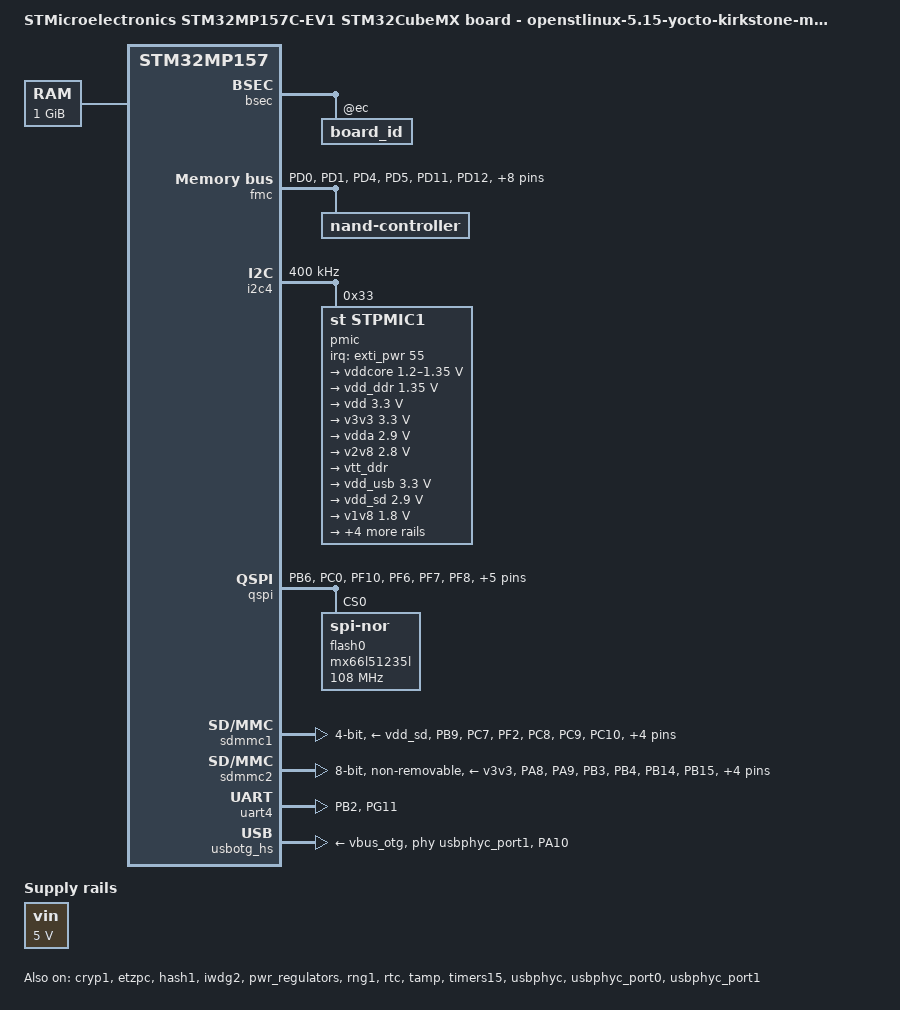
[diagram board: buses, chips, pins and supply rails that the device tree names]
/dts-v1/;
#include <dt-bindings/pinctrl/stm32-pinfunc.h>
#include <dt-bindings/clock/stm32mp1-clksrc.h>
#include <dt-bindings/soc/st,stm32-etzpc.h>
#include "stm32mp15-mx.dtsi"
#include "stm32mp157.dtsi"
#include "stm32mp15xc.dtsi"
#include "stm32mp15xxaa-pinctrl.dtsi"
#include "stm32mp15-ddr.dtsi"

/* USER CODE BEGIN includes */
#include <dt-bindings/power/stm32mp1-power.h>
/* USER CODE END includes */

/{
	model = "STMicroelectronics STM32MP157C-EV1 STM32CubeMX board - openstlinux-5.15-yocto-kirkstone-mp1-v22.06.15";
	compatible = "st,stm32mp157c-board_157c-ev1-mx", "st,stm32mp157";

	/* USER CODE BEGIN root */

	aliases{
		serial0 = &uart4;
		serial1 = &usart3;
	};

	vin:vin{
		compatible = "regulator-fixed";
		regulator-name = "vin";
		regulator-min-microvolt = <5000000>;
		regulator-max-microvolt = <5000000>;
		regulator-always-on;
	};

	chosen{
		stdout-path = "serial0:115200n8";
	};
	/* USER CODE END root */

	memory@c0000000{
		device_type = "memory";
		reg = <0xc0000000 0x40000000>;
	};

	clocks{

		clk_hsi:clk-hsi{
			clock-frequency = <64000000>;
		};

		clk_lse:clk-lse{
			clock-frequency = <32768>;
			st,drive = < LSEDRV_MEDIUM_HIGH >;
		};

		clk_hse:clk-hse{
			clock-frequency = <24000000>;
			st,digbypass;
		};
	};
};

&pinctrl{

	fmc_pins_mx:fmc_mx-0{

		pins1{
			pinmux = <STM32_PINMUX('D', 0, AF12)>,
					<STM32_PINMUX('D', 1, AF12)>,
					<STM32_PINMUX('D', 4, AF12)>,
					<STM32_PINMUX('D', 5, AF12)>,
					<STM32_PINMUX('D', 11, AF12)>,
					<STM32_PINMUX('D', 12, AF12)>,
					<STM32_PINMUX('D', 14, AF12)>,
					<STM32_PINMUX('D', 15, AF12)>,
					<STM32_PINMUX('E', 7, AF12)>,
					<STM32_PINMUX('E', 8, AF12)>,
					<STM32_PINMUX('E', 9, AF12)>,
					<STM32_PINMUX('E', 10, AF12)>,
					<STM32_PINMUX('G', 9, AF12)>;
			bias-disable;
			drive-push-pull;
			slew-rate = <1>;
		};

		pins2{
			pinmux = <STM32_PINMUX('D', 6, AF12)>;
			bias-pull-up;
		};
	};

	quadspi_pins_mx:quadspi_mx-0{

		pins1{
			pinmux = <STM32_PINMUX('B', 6, AF10)>,
					<STM32_PINMUX('C', 0, AF10)>;
			bias-pull-up;
			drive-push-pull;
			slew-rate = <1>;
		};

		pins2{
			pinmux = <STM32_PINMUX('F', 10, AF9)>;
			bias-disable;
			drive-push-pull;
			slew-rate = <3>;
		};

		pins3{
			pinmux = <STM32_PINMUX('F', 6, AF9)>,
					<STM32_PINMUX('F', 7, AF9)>,
					<STM32_PINMUX('F', 8, AF10)>,
					<STM32_PINMUX('F', 9, AF10)>,
					<STM32_PINMUX('G', 7, AF11)>,
					<STM32_PINMUX('G', 10, AF11)>,
					<STM32_PINMUX('H', 2, AF9)>,
					<STM32_PINMUX('H', 3, AF9)>;
			bias-disable;
			drive-push-pull;
			slew-rate = <1>;
		};
	};

	sdmmc1_pins_mx:sdmmc1_mx-0{

		pins1{
			pinmux = <STM32_PINMUX('B', 9, AF11)>,
					<STM32_PINMUX('C', 7, AF8)>,
					<STM32_PINMUX('F', 2, AF11)>;
			bias-pull-up;
			drive-push-pull;
			slew-rate = <1>;
		};

		pins2{
			pinmux = <STM32_PINMUX('C', 8, AF12)>,
					<STM32_PINMUX('C', 9, AF12)>,
					<STM32_PINMUX('C', 10, AF12)>,
					<STM32_PINMUX('C', 11, AF12)>,
					<STM32_PINMUX('D', 2, AF12)>;
			bias-disable;
			drive-push-pull;
			slew-rate = <1>;
		};

		pins3{
			pinmux = <STM32_PINMUX('C', 12, AF12)>;
			bias-disable;
			drive-push-pull;
			slew-rate = <2>;
		};

		pins4{
			pinmux = <STM32_PINMUX('E', 4, AF8)>;
			bias-pull-up;
		};
	};

	sdmmc2_pins_mx:sdmmc2_mx-0{

		pins1{
			pinmux = <STM32_PINMUX('A', 8, AF9)>,
					<STM32_PINMUX('A', 9, AF10)>,
					<STM32_PINMUX('B', 3, AF9)>,
					<STM32_PINMUX('B', 4, AF9)>,
					<STM32_PINMUX('B', 14, AF9)>,
					<STM32_PINMUX('B', 15, AF9)>,
					<STM32_PINMUX('D', 3, AF9)>,
					<STM32_PINMUX('E', 5, AF9)>,
					<STM32_PINMUX('G', 6, AF10)>;
			bias-pull-up;
			drive-push-pull;
			slew-rate = <1>;
		};

		pins2{
			pinmux = <STM32_PINMUX('E', 3, AF9)>;
			bias-pull-up;
			drive-push-pull;
			slew-rate = <2>;
		};
	};

	uart4_pins_mx:uart4_mx-0{

		pins1{
			pinmux = <STM32_PINMUX('B', 2, AF8)>;
			bias-disable;
		};

		pins2{
			pinmux = <STM32_PINMUX('G', 11, AF6)>;
			bias-disable;
			drive-push-pull;
			slew-rate = <0>;
		};
	};

	usb_otg_hs_pins_mx:usb_otg_hs_mx-0{

		pins{
			pinmux = <STM32_PINMUX('A', 10, ANALOG)>;
		};
	};
};

&pinctrl_z{

	i2c4_pins_z_mx:i2c4_mx-0{

		pins{
			pinmux = <STM32_PINMUX('Z', 4, AF6)>,
					<STM32_PINMUX('Z', 5, AF6)>;
			bias-disable;
			drive-open-drain;
			slew-rate = <0>;
		};
	};
};

&bsec{
	status = "okay";

	/* USER CODE BEGIN bsec */

	board_id:board_id@ec{
		reg = <0xec 0x4>;
		st,non-secure-otp;
	};
	/* USER CODE END bsec */
};

&cryp1{
	status = "okay";
};

&etzpc{
	status = "okay";
	st,decprot = <
	
	DECPROT(STM32MP1_ETZPC_CRYP1_ID, DECPROT_NS_RW, DECPROT_UNLOCK)
	DECPROT(STM32MP1_ETZPC_DCMI_ID, DECPROT_NS_RW, DECPROT_UNLOCK)
	DECPROT(STM32MP1_ETZPC_DFSDM_ID, DECPROT_NS_RW, DECPROT_UNLOCK)
	DECPROT(STM32MP1_ETZPC_DMA1_ID, DECPROT_NS_RW, DECPROT_UNLOCK)
	DECPROT(STM32MP1_ETZPC_DMA2_ID, DECPROT_NS_RW, DECPROT_UNLOCK)
	DECPROT(STM32MP1_ETZPC_DMAMUX_ID, DECPROT_NS_RW, DECPROT_UNLOCK)
	DECPROT(STM32MP1_ETZPC_ETH_ID, DECPROT_NS_RW, DECPROT_UNLOCK)
	DECPROT(STM32MP1_ETZPC_TT_FDCAN_ID, DECPROT_NS_RW, DECPROT_UNLOCK)
	DECPROT(STM32MP1_ETZPC_FMC_ID, DECPROT_NS_RW, DECPROT_UNLOCK)
	DECPROT(STM32MP1_ETZPC_HASH1_ID, DECPROT_NS_RW, DECPROT_UNLOCK)
	DECPROT(STM32MP1_ETZPC_CEC_ID, DECPROT_NS_RW, DECPROT_UNLOCK)
	DECPROT(STM32MP1_ETZPC_I2C2_ID, DECPROT_NS_RW, DECPROT_UNLOCK)
	DECPROT(STM32MP1_ETZPC_I2C4_ID, DECPROT_NS_RW, DECPROT_UNLOCK)
	DECPROT(STM32MP1_ETZPC_I2C5_ID, DECPROT_NS_RW, DECPROT_UNLOCK)
	DECPROT(STM32MP1_ETZPC_QSPI_ID, DECPROT_NS_RW, DECPROT_UNLOCK)
	DECPROT(STM32MP1_ETZPC_DLYBQ_ID, DECPROT_NS_RW, DECPROT_UNLOCK)
	DECPROT(STM32MP1_ETZPC_SAI2_ID, DECPROT_NS_RW, DECPROT_UNLOCK)
	DECPROT(STM32MP1_ETZPC_SAI4_ID, DECPROT_NS_RW, DECPROT_UNLOCK)
	DECPROT(STM32MP1_ETZPC_SPDIFRX_ID, DECPROT_NS_RW, DECPROT_UNLOCK)
	DECPROT(STM32MP1_ETZPC_TIM6_ID, DECPROT_NS_RW, DECPROT_UNLOCK)
	DECPROT(STM32MP1_ETZPC_UART4_ID, DECPROT_NS_RW, DECPROT_UNLOCK)
	DECPROT(STM32MP1_ETZPC_OTG_ID, DECPROT_NS_RW, DECPROT_UNLOCK)
	DECPROT(STM32MP1_ETZPC_RNG1_ID, DECPROT_NS_RW, DECPROT_UNLOCK)
	
	DECPROT(STM32MP1_ETZPC_DDRCTRL_ID, DECPROT_NS_R_S_W, DECPROT_LOCK)
	DECPROT(STM32MP1_ETZPC_DDRPHYC_ID, DECPROT_NS_R_S_W, DECPROT_LOCK)
	
	DECPROT(STM32MP1_ETZPC_STGENC_ID, DECPROT_S_RW, DECPROT_UNLOCK)

	

	
	
	>;
};

&fmc{
	pinctrl-names = "default";
	pinctrl-0 = <&fmc_pins_mx>;
	status = "okay";

	/* USER CODE BEGIN fmc */

	nand-controller@4,0{
		status = "okay";

		nand@0{
			reg = <0>;
			nand-on-flash-bbt;
			#address-cells = <1>;
			#size-cells = <1>;
		};
	};
	/* USER CODE END fmc */
};

&hash1{
	status = "okay";
};

&i2c4{
	pinctrl-names = "default";
	pinctrl-0 = <&i2c4_pins_z_mx>;
	status = "okay";

	/* USER CODE BEGIN i2c4 */
	i2c-scl-rising-time-ns = <185>;
	i2c-scl-falling-time-ns = <20>;
	clock-frequency = <400000>;

	pmic:stpmic@33{
		compatible = "st,stpmic1";
		reg = <0x33>;
		interrupts-extended = <&exti_pwr 55 IRQ_TYPE_EDGE_FALLING>;
		interrupt-controller;
		#interrupt-cells = <2>;
		status = "okay";

		regulators{
			compatible = "st,stpmic1-regulators";
			buck1-supply = <&vin>;
			buck2-supply = <&vin>;
			buck3-supply = <&vin>;
			buck4-supply = <&vin>;
			ldo1-supply = <&v3v3>;
			ldo2-supply = <&v3v3>;
			ldo3-supply = <&vdd_ddr>;
			ldo4-supply = <&vin>;
			ldo5-supply = <&v3v3>;
			ldo6-supply = <&v3v3>;
			vref_ddr-supply = <&vin>;
			boost-supply = <&vin>;
			pwr_sw1-supply = <&bst_out>;
			pwr_sw2-supply = <&bst_out>;

			vddcore:buck1{
				regulator-name = "vddcore";
				regulator-min-microvolt = <1200000>;
				regulator-max-microvolt = <1350000>;
				regulator-always-on;
				regulator-initial-mode = <0>;
				regulator-over-current-protection;

				lp-stop{
					regulator-on-in-suspend;
					regulator-suspend-microvolt = <1200000>;
				};

				lplv-stop{
					regulator-on-in-suspend;
					regulator-suspend-microvolt = <900000>;
				};

				standby-ddr-sr{
					regulator-off-in-suspend;
				};

				standby-ddr-off{
					regulator-off-in-suspend;
				};
			};

			vdd_ddr:buck2{
				regulator-name = "vdd_ddr";
				regulator-min-microvolt = <1350000>;
				regulator-max-microvolt = <1350000>;
				regulator-always-on;
				regulator-initial-mode = <0>;
				regulator-over-current-protection;

				lp-stop{
					regulator-suspend-microvolt = <1350000>;
					regulator-on-in-suspend;
				};

				lplv-stop{
					regulator-suspend-microvolt = <1350000>;
					regulator-on-in-suspend;
				};

				standby-ddr-sr{
					regulator-suspend-microvolt = <1350000>;
					regulator-on-in-suspend;
				};

				standby-ddr-off{
					regulator-off-in-suspend;
				};
			};

			vdd:buck3{
				regulator-name = "vdd";
				regulator-min-microvolt = <3300000>;
				regulator-max-microvolt = <3300000>;
				regulator-always-on;
				st,mask-reset;
				regulator-initial-mode = <0>;
				regulator-over-current-protection;

				lp-stop{
					regulator-suspend-microvolt = <3300000>;
					regulator-on-in-suspend;
				};

				lplv-stop{
					regulator-suspend-microvolt = <3300000>;
					regulator-on-in-suspend;
				};

				standby-ddr-sr{
					regulator-suspend-microvolt = <3300000>;
					regulator-on-in-suspend;
				};

				standby-ddr-off{
					regulator-suspend-microvolt = <3300000>;
					regulator-on-in-suspend;
				};
			};

			v3v3:buck4{
				regulator-name = "v3v3";
				regulator-min-microvolt = <3300000>;
				regulator-max-microvolt = <3300000>;
				regulator-always-on;
				regulator-over-current-protection;
				regulator-initial-mode = <0>;

				standby-ddr-sr{
					regulator-off-in-suspend;
				};

				standby-ddr-off{
					regulator-off-in-suspend;
				};
			};

			vdda:ldo1{
				regulator-name = "vdda";
				regulator-min-microvolt = <2900000>;
				regulator-max-microvolt = <2900000>;

				standby-ddr-sr{
					regulator-off-in-suspend;
				};

				standby-ddr-off{
					regulator-off-in-suspend;
				};
			};

			v2v8:ldo2{
				regulator-name = "v2v8";
				regulator-min-microvolt = <2800000>;
				regulator-max-microvolt = <2800000>;

				standby-ddr-sr{
					regulator-off-in-suspend;
				};

				standby-ddr-off{
					regulator-off-in-suspend;
				};
			};

			vtt_ddr:ldo3{
				regulator-name = "vtt_ddr";
				regulator-always-on;
				regulator-over-current-protection;
				st,regulator-sink-source;

				lp-stop{
					regulator-off-in-suspend;
				};

				lplv-stop{
					regulator-off-in-suspend;
				};

				standby-ddr-sr{
					regulator-off-in-suspend;
				};

				standby-ddr-off{
					regulator-off-in-suspend;
				};
			};

			vdd_usb:ldo4{
				regulator-name = "vdd_usb";
				regulator-min-microvolt = <3300000>;
				regulator-max-microvolt = <3300000>;

				standby-ddr-sr{
					regulator-off-in-suspend;
				};

				standby-ddr-off{
					regulator-off-in-suspend;
				};
			};

			vdd_sd:ldo5{
				regulator-name = "vdd_sd";
				regulator-min-microvolt = <2900000>;
				regulator-max-microvolt = <2900000>;
				regulator-boot-on;

				standby-ddr-sr{
					regulator-off-in-suspend;
				};

				standby-ddr-off{
					regulator-off-in-suspend;
				};
			};

			v1v8:ldo6{
				regulator-name = "v1v8";
				regulator-min-microvolt = <1800000>;
				regulator-max-microvolt = <1800000>;
				regulator-enable-ramp-delay = <300000>;

				standby-ddr-sr{
					regulator-off-in-suspend;
				};

				standby-ddr-off{
					regulator-off-in-suspend;
				};
			};

			vref_ddr:vref_ddr{
				regulator-name = "vref_ddr";
				regulator-always-on;

				lp-stop{
					regulator-on-in-suspend;
				};

				lplv-stop{
					regulator-on-in-suspend;
				};

				standby-ddr-sr{
					regulator-on-in-suspend;
				};

				standby-ddr-off{
					regulator-off-in-suspend;
				};
			};

			bst_out:boost{
				regulator-name = "bst_out";
			};

			vbus_otg:pwr_sw1{
				regulator-name = "vbus_otg";
			};

			vbus_sw:pwr_sw2{
				regulator-name = "vbus_sw";
				regulator-active-discharge = <1>;
			};
		};
	};
	/* USER CODE END i2c4 */
};

&iwdg2{
	status = "okay";

	/* USER CODE BEGIN iwdg2 */
	timeout-sec = <32>;
	secure-timeout-sec = <5>;
	/* USER CODE END iwdg2 */
};

&pwr_regulators{
	status = "okay";

	/* USER CODE BEGIN pwr_regulators */
	system_suspend_supported_soc_modes = <
		STM32_PM_CSLEEP_RUN
		STM32_PM_CSTOP_ALLOW_LP_STOP
		STM32_PM_CSTOP_ALLOW_LPLV_STOP
		STM32_PM_CSTOP_ALLOW_STANDBY_DDR_SR
	>;
	system_off_soc_mode = <STM32_PM_CSTOP_ALLOW_STANDBY_DDR_OFF>;
	vdd-supply = <&vdd>;
	vdd_3v3_usbfs-supply = <&vdd_usb>;
	/* USER CODE END pwr_regulators */
};

&qspi{
	pinctrl-names = "default";
	pinctrl-0 = <&quadspi_pins_mx>;
	status = "okay";

	/* USER CODE BEGIN qspi */
	reg = <0x58003000 0x1000>, <0x70000000 0x4000000>;
	#address-cells = <1>;
	#size-cells = <0>;

	flash0:mx66l51235l@0{
		compatible = "jedec,spi-nor";
		reg = <0>;
		spi-rx-bus-width = <4>;
		spi-max-frequency = <108000000>;
		#address-cells = <1>;
		#size-cells = <1>;
	};
	/* USER CODE END qspi */
};

&rcc{
	status = "okay";
	clocks = <&clk_hse>, <&clk_hsi>, <&clk_lse>, <&clk_lsi>, <&clk_csi>;
	clock-names = "clk-hse", "clk-hsi", "clk-lse", "clk-lsi", "clk-csi";
	st,clksrc = <
		CLK_MPU_PLL1P
		CLK_AXI_PLL2P
		CLK_MCU_PLL3P
		CLK_PLL12_HSE
		CLK_PLL3_HSE
		CLK_PLL4_HSE
		CLK_RTC_LSE
		CLK_MCO1_DISABLED
		CLK_MCO2_DISABLED
	>;
	st,clkdiv = <
		1 		
		0 		
		0 		
		1 		
		1 		
		1 		
		1 		
		2 		
		23 		
		0 		
		0 		
	>;
	st,pkcs = <
		CLK_CKPER_DISABLED
		CLK_FMC_ACLK
		CLK_QSPI_ACLK
		CLK_ETH_PLL4P
		CLK_SDMMC12_PLL4P
		CLK_DSI_DSIPLL
		CLK_STGEN_HSE
		CLK_USBPHY_HSE
		CLK_SPI2S1_DISABLED
		CLK_SPI2S23_DISABLED
		CLK_SPI45_DISABLED
		CLK_SPI6_DISABLED
		CLK_I2C46_HSI
		CLK_SDMMC3_DISABLED
		CLK_USBO_USBPHY
		CLK_ADC_DISABLED
		CLK_CEC_LSE
		CLK_I2C12_HSI
		CLK_I2C35_PCLK1
		CLK_UART1_DISABLED
		CLK_UART24_HSI
		CLK_UART35_DISABLED
		CLK_UART6_DISABLED
		CLK_UART78_DISABLED
		CLK_SPDIF_PLL4P
		CLK_FDCAN_PLL4R
		CLK_SAI1_PLL3Q
		CLK_SAI2_PLL3Q
		CLK_SAI3_DISABLED
		CLK_SAI4_PLL3Q
		CLK_RNG1_CSI
		CLK_LPTIM1_DISABLED
		CLK_LPTIM23_DISABLED
		CLK_LPTIM45_DISABLED
	>;

	/* USER CODE BEGIN rcc */
	st,hsi-cal;
	st,csi-cal;
	st,cal-sec = <60>;
	/* USER CODE END rcc */

	pll2:st,pll@1{
		compatible = "st,stm32mp1-pll";
		reg = <1>;
		cfg = < 2 65 1 0 0 PQR(1,1,1) >;
		frac = < 0x1400 >;
	};

	pll3:st,pll@2{
		compatible = "st,stm32mp1-pll";
		reg = <2>;
		cfg = < 1 33 1 16 36 PQR(1,1,0) >;
		frac = < 0x1a04 >;
	};

	pll4:st,pll@3{
		compatible = "st,stm32mp1-pll";
		reg = <3>;
		cfg = < 3 98 5 7 7 PQR(1,1,1) >;
	};
};

&rng1{
	status = "okay";
};

&rtc{
	status = "okay";
};

&sdmmc1{
	pinctrl-names = "default";
	pinctrl-0 = <&sdmmc1_pins_mx>;
	status = "okay";

	/* USER CODE BEGIN sdmmc1 */
	disable-wp;
	st,sig-dir;
	st,neg-edge;
	st,use-ckin;
	bus-width = <4>;
	vmmc-supply = <&vdd_sd>;
	sd-uhs-sdr12;
	sd-uhs-sdr25;
	sd-uhs-sdr50;
	sd-uhs-ddr50;
	/* USER CODE END sdmmc1 */
};

&sdmmc2{
	pinctrl-names = "default";
	pinctrl-0 = <&sdmmc2_pins_mx>;
	status = "okay";

	/* USER CODE BEGIN sdmmc2 */
	non-removable;
	no-sd;
	no-sdio;
	st,neg-edge;
	bus-width = <8>;
	vmmc-supply = <&v3v3>;
	vqmmc-supply = <&vdd>;
	mmc-ddr-3_3v;
	/* USER CODE END sdmmc2 */
};

&tamp{
	status = "okay";
};

&timers15{
	status = "okay";

	/* USER CODE BEGIN timers15 */
	st,hsi-cal-input = <7>;
	st,csi-cal-input = <8>;
	/* USER CODE END timers15 */
};

&uart4{
	pinctrl-names = "default";
	pinctrl-0 = <&uart4_pins_mx>;
	status = "okay";
};

&usbotg_hs{
	pinctrl-names = "default";
	pinctrl-0 = <&usb_otg_hs_pins_mx>;
	status = "okay";

	/* USER CODE BEGIN usbotg_hs */
	vbus-supply = <&vbus_otg>;
	phys = <&usbphyc_port1 0>;
	phy-names = "usb2-phy";
	/* USER CODE END usbotg_hs */
};

&usbphyc{
	status = "okay";
};

&usbphyc_port0{
	status = "okay";

	/* USER CODE BEGIN usbphyc_port0 */
	phy-supply = <&vdd_usb>;
	/* USER CODE END usbphyc_port0 */
};

&usbphyc_port1{
	status = "okay";

	/* USER CODE BEGIN usbphyc_port1 */
	phy-supply = <&vdd_usb>;
	/* USER CODE END usbphyc_port1 */
};

/* USER CODE BEGIN addons */

&cpu0{
	cpu-supply = <&vddcore>;
};

&cpu1{
	cpu-supply = <&vddcore>;
};
/* USER CODE END addons */
